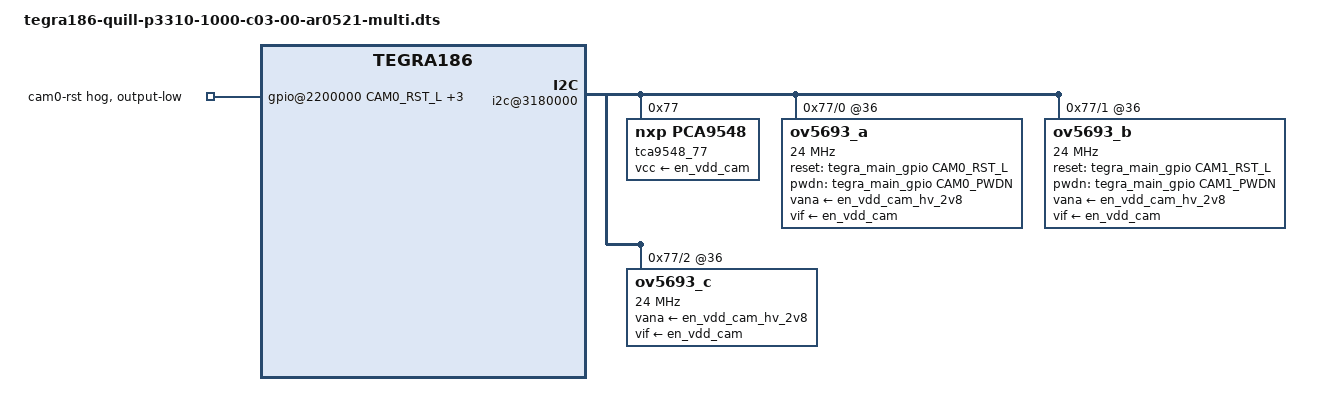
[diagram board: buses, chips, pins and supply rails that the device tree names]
/*
 * Copyright (c) 2015-2016, NVIDIA CORPORATION.  All rights reserved.
 *
 * This program is free software; you can redistribute it and/or modify
 * it under the terms of the GNU General Public License as published by
 * the Free Software Foundation; either version 2 of the License, or
 * (at your option) any later version.
 *
 * This program is distributed in the hope that it will be useful, but WITHOUT
 * ANY WARRANTY; without even the implied warranty of MERCHANTABILITY or
 * FITNESS FOR A PARTICULAR PURPOSE.  See the GNU General Public License for
 * more details.
 *
 * You should have received a copy of the GNU General Public License
 * along with this program.  If not, see <http://www.gnu.org/licenses/>.
 */

#include "tegra186-quill-p3310-1000-c03-00-base.dts"
#include "quill-modules/tegra186-camera-ar0521-multi.dtsi"
#include "dt-bindings/clock/tegra186-clock.h"

#define CAM0_RST_L	TEGRA_MAIN_GPIO(R, 5)
#define CAM0_PWDN	TEGRA_MAIN_GPIO(R, 0)
#define CAM1_RST_L	TEGRA_MAIN_GPIO(R, 1)
#define CAM1_PWDN	TEGRA_MAIN_GPIO(L, 6)
#define CAMERA_I2C_MUX_BUS(x) (0x1E + x)

/* camera control gpio definitions */

/ {
	gpio@2200000 {
		status = "okay";
		camera-control-output-low {
			status = "okay";
			gpio-hog;
			output-low;
			gpios = <CAM0_RST_L 0 CAM0_PWDN 0
				 CAM1_RST_L 0 CAM1_PWDN 0>;
			label = "cam0-rst", "cam0-pwdn",
				"cam1-rst", "cam1-pwdn";
		};
	};

	i2c@3180000 {
		status = "okay";
		tca9548_77: tca9548@77 {
			status = "okay";
			compatible = "nxp,pca9548";
			reg = <0x77>;
			#address-cells = <1>;
			#size-cells = <0>;
			vcc-supply = <&en_vdd_cam>;
			skip_mux_detect;
			force_bus_start = <CAMERA_I2C_MUX_BUS(0)>;
			i2c@0 {
				reg = <0>;
				i2c-mux,deselect-on-exit;
				#address-cells = <1>;
				#size-cells = <0>;
			};
			i2c@1 {
				reg = <1>;
				i2c-mux,deselect-on-exit;
				#address-cells = <1>;
				#size-cells = <0>;
			};
			i2c@2 {
				reg = <2>;
				i2c-mux,deselect-on-exit;
				#address-cells = <1>;
				#size-cells = <0>;
			};

			i2c@0 {
				ov5693_a@36 {
					status = "okay";
					clocks = <&tegra_car TEGRA186_CLK_EXTPERIPH1>,
						 	 <&tegra_car TEGRA186_CLK_PLLP_OUT0>;
					clock-names = "extperiph1", "pllp_grtba";
					mclk = "extperiph1";
					clock-frequency = <24000000>;
					reset-gpios = <&tegra_main_gpio CAM0_RST_L GPIO_ACTIVE_HIGH>;
					pwdn-gpios = <&tegra_main_gpio CAM0_PWDN GPIO_ACTIVE_HIGH>;
					vana-supply = <&en_vdd_cam_hv_2v8>;
					vif-supply = <&en_vdd_cam>;
				};
			};
			i2c@1 {
				ov5693_b@36 {
					status = "okay";
					clocks = <&tegra_car TEGRA186_CLK_EXTPERIPH1>,
						 	 <&tegra_car TEGRA186_CLK_PLLP_OUT0>;
					clock-names = "extperiph1", "pllp_grtba";
					mclk = "extperiph1";
					clock-frequency = <24000000>;
					reset-gpios = <&tegra_main_gpio CAM1_RST_L GPIO_ACTIVE_HIGH>;
					pwdn-gpios = <&tegra_main_gpio CAM1_PWDN GPIO_ACTIVE_HIGH>;
					vana-supply = <&en_vdd_cam_hv_2v8>;
					vif-supply = <&en_vdd_cam>;
				};
			};
			i2c@2 {
				ov5693_c@36 {
					status = "okay";
					clocks = <&tegra_car TEGRA186_CLK_EXTPERIPH1>,
						 	 <&tegra_car TEGRA186_CLK_PLLP_OUT0>;
					clock-names = "extperiph1", "pllp_grtba";
					mclk = "extperiph1";
					clock-frequency = <24000000>;
					// pwdn-gpios = <&tca6408_21 0 GPIO_ACTIVE_HIGH>;
					// reset-gpios = <&tca6408_21 1 GPIO_ACTIVE_HIGH>;
					vana-supply = <&en_vdd_cam_hv_2v8>;
					vif-supply = <&en_vdd_cam>;
				};
			};
		};
	};
};
